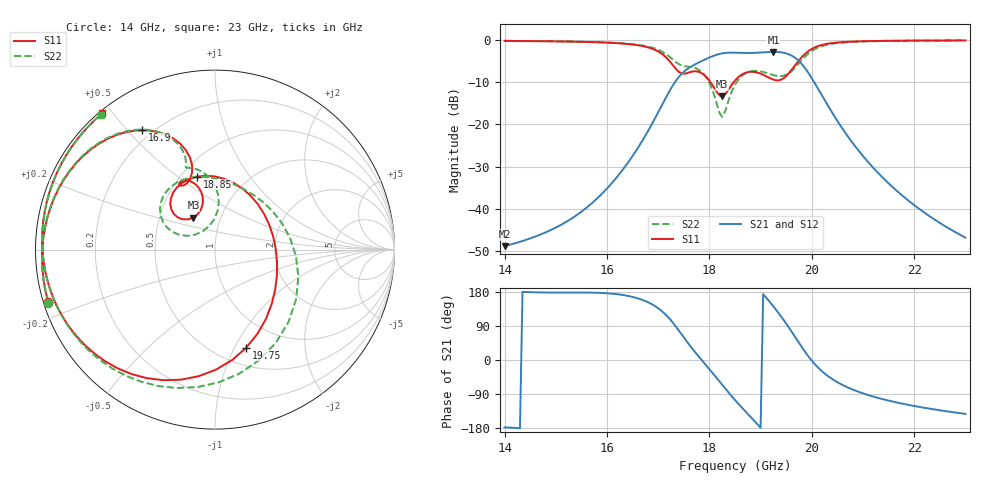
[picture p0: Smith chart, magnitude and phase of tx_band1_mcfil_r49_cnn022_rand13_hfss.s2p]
! Touchstone file exported from HFSS 3D Layout Design 2026.1.0
!  File:  D:/Work/SIM/ADS_AUTO_SIM/projects/RFSOC_RF/TX_Fillter.aedt
!  Generated:  04:54:48 AM Aug 31, 2026
!  Design:  TX_BAND1_MCFIL_R49_CNN022
!  Project:  TX_Fillter
# GHz S MA R 50.000000
! Terminal data exported
! Port[1] = Port1
! Port[2] = Port2
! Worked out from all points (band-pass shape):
!   181 points, 14 GHz to 23 GHz, reference 50 ohm
!   highest |S21| = -2.84 dB at 19.25 GHz (marker M1); lowest = -48.9 dB at 14 GHz (marker M2)
!   |S21| within 3 dB of the highest: 17.71 GHz to 19.81 GHz (2.099 GHz wide, 11.2 % of centre)
!   lowest |S11| = -13.3 dB at 18.25 GHz (marker M3), VSWR 1.55, Z = 37.1 + j13.9 ohm
!   |S11| at or under -10 dB: 18.02 GHz to 18.48 GHz (457 MHz wide, 2.5 % of centre)
!   |S22| runs from -18.2 to -0.1 dB; largest |S21 - S12| = 1.3e-14
!   S11 on the Smith chart (normalised r, x): 14 GHz: 0.01, -0.15; 16.9 GHz: 0.16, +0.55; 18.85 GHz: 0.60, +0.59; 19.75 GHz: 0.68, -1.11; 23 GHz: 0.01, +0.47
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14  0.974 -162.5  0.003602 -177.7  0.003602 -177.7  0.9744 -162.4
15.5  0.9492 168.1  0.009228 178.0  0.009228 178.0  0.9509 168.3
16.3  0.9056 146.3  0.02858 171.8  0.02858 171.8  0.9115 147.2
16.9  0.7795 121.4  0.1069 145.5  0.1069 145.5  0.8047 124.0
17  0.7301 116.1  0.1389 136.6  0.1389 136.6  0.7644 119.2
17.3  0.4901 105.2  0.2975 96.1  0.2975 96.1  0.576 108.0
17.55  0.4023 118.0  0.4432 50.3  0.4432 50.3  0.4844 109.5
17.75  0.4241 114.8  0.5242 15.9  0.5242 15.9  0.4572 102.4
17.95  0.3588 104.8  0.6004 -16.2  0.6004 -16.2  0.3496 89.5
18.25  0.2153 123.9  0.692 -65.6  0.692 -65.6  0.1227 124.1
18.5  0.3297 137.5  0.7059 -105.7  0.7059 -105.7  0.2941 155.2
18.85  0.4188 103.9  0.701 -156.7  0.701 -156.7  0.4282 124.3
19.05  0.3862 74.7  0.7119 173.7  0.7119 173.7  0.417 103.5
19.25  0.3382 36.0  0.721 141.5  0.721 141.5  0.3834 79.4
19.5  0.3731 -22.3  0.6925 96.0  0.6925 96.0  0.3855 33.8
19.75  0.5735 -72.3  0.5615 45.2  0.5615 45.2  0.5305 -31.7
20  0.7824 -111.6  0.3509 -1.7  0.3509 -1.7  0.7394 -88.3
20.25  0.8869 -139.2  0.1937 -35.6  0.1937 -35.6  0.8607 -125.3
20.55  0.9366 -161.2  0.09834 -62.4  0.09834 -62.4  0.9233 -152.9
20.95  0.9623 179.4  0.04583 -85.8  0.04583 -85.8  0.9564 -175.8
21.5  0.9759 161.2  0.01999 -107.2  0.01999 -107.2  0.9737 163.8
23  0.9849 129.6  0.004552 -142.2  0.004552 -142.2  0.9849 130.3
